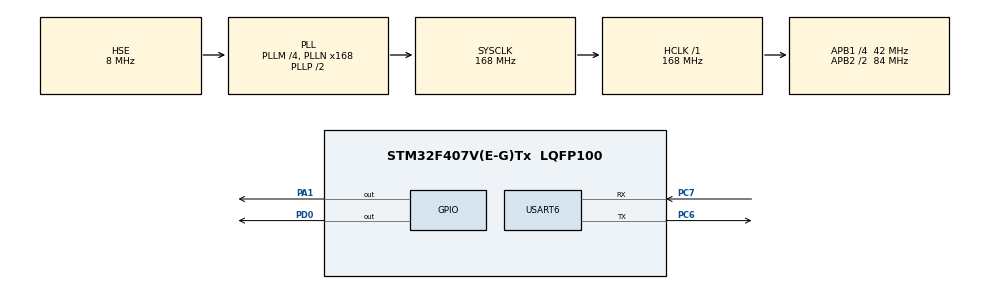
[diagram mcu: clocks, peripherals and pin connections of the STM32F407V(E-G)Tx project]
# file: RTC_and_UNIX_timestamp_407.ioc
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Mcu.Family=STM32F4
Mcu.Name=STM32F407V(E-G)Tx
Mcu.Package=LQFP100
NVIC.PriorityGroup=NVIC_PRIORITYGROUP_4
NVIC.RTC_Alarm_IRQn=true\:0\:0\:false\:false\:true\:true\:true\:true
NVIC.TIM8_TRG_COM_TIM14_IRQn=true\:15\:0\:false\:false\:true\:false\:true\:true
NVIC.TimeBase=TIM8_TRG_COM_TIM14_IRQn
NVIC.TimeBaseIP=TIM14
PA1.Signal=GPIO_Output
PA13.Mode=Serial_Wire
PA13.Signal=SYS_JTMS-SWDIO
PA14.Mode=Serial_Wire
PA14.Signal=SYS_JTCK-SWCLK
PC14-OSC32_IN.Mode=LSE-External-Oscillator
PC14-OSC32_IN.Signal=RCC_OSC32_IN
PC15-OSC32_OUT.Mode=LSE-External-Oscillator
PC15-OSC32_OUT.Signal=RCC_OSC32_OUT
PC6.Mode=Asynchronous
PC6.Signal=USART6_TX
PC7.Mode=Asynchronous
PC7.Signal=USART6_RX
PD0.Signal=GPIO_Output
PH0-OSC_IN.Mode=HSE-External-Oscillator
PH0-OSC_IN.Signal=RCC_OSC_IN
PH1-OSC_OUT.Mode=HSE-External-Oscillator
PH1-OSC_OUT.Signal=RCC_OSC_OUT
ProjectManager.HeapSize=0x200
ProjectManager.StackSize=0x400
ProjectManager.TargetToolchain=STM32CubeIDE
RCC.48MHZClocksFreq_Value=84000000
RCC.AHBFreq_Value=168000000
RCC.APB1CLKDivider=RCC_HCLK_DIV4
RCC.APB1Freq_Value=42000000
RCC.APB1TimFreq_Value=84000000
RCC.APB2CLKDivider=RCC_HCLK_DIV2
RCC.APB2Freq_Value=84000000
RCC.APB2TimFreq_Value=168000000
RCC.CortexFreq_Value=168000000
RCC.HCLKFreq_Value=168000000
RCC.HSE_VALUE=8000000
RCC.HSI_VALUE=16000000
RCC.PLLM=4
RCC.PLLN=168
RCC.PLLSourceVirtual=RCC_PLLSOURCE_HSE
RCC.SYSCLKFreq_VALUE=168000000
RCC.SYSCLKSource=RCC_SYSCLKSOURCE_PLLCLK
RCC.VCOOutputFreq_Value=336000000
RTC.Alarm=RTC_ALARM_A
RTC.AlarmMaskSeconds=RTC_ALARMMASK_SECONDS
RTC.Date=6
RTC.Format=RTC_FORMAT_BIN
RTC.Hours=18
RTC.Hours_A=18
RTC.Minutes=15
RTC.Minutes_A=15
RTC.Month=RTC_MONTH_AUGUST
RTC.Seconds_A=5
RTC.WeekDay=RTC_WEEKDAY_SATURDAY
RTC.Year=22
USART6.VirtualMode=VM_ASYNC
VP_RTC_VS_RTC_Activate.Mode=RTC_Enabled
VP_RTC_VS_RTC_Alarm_A_Intern.Mode=Alarm A
VP_RTC_VS_RTC_Calendar.Mode=RTC_Calendar
VP_SYS_VS_tim14.Mode=TIM14
board=custom

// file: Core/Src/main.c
/* USER CODE BEGIN Header */
/**
  ******************************************************************************
  * @file           : main.c
  * @brief          : Main program body
  ******************************************************************************
  * @attention
  *
  * Copyright (c) 2022 STMicroelectronics.
  * All rights reserved.
  *
  * This software is licensed under terms that can be found in the LICENSE file
  * in the root directory of this software component.
  * If no LICENSE file comes with this software, it is provided AS-IS.
  *
  ******************************************************************************
  */
/* USER CODE END Header */
#include "main.h"

/* USER CODE BEGIN Includes */
#include "stdio.h"
#include "string.h"
#include <time.h>
#include "stdbool.h" // Для flag
bool flag;

/* Global vars for timestamp */
RTC_TimeTypeDef currentTime;
RTC_DateTypeDef currentDate;
time_t timestamp;
struct tm currTime;

RTC_TimeTypeDef Time1;
RTC_DateTypeDef Date1;
time_t timestamp1;
struct tm stTime1;

RTC_TimeTypeDef Time2;
RTC_DateTypeDef Date2;
time_t timestamp2;
struct tm stTime2;
/* USER CODE END Includes */

RTC_HandleTypeDef hrtc;

UART_HandleTypeDef huart6;

/* USER CODE BEGIN PV */
RTC_TimeTypeDef sTime = {0};
RTC_DateTypeDef DateToUpdate = {0};
RTC_AlarmTypeDef sAlarm = {0}; // структура будильника

char trans_str[64] = {0,};
/* USER CODE END PV */

void SystemClock_Config(void);
static void MX_GPIO_Init(void);
static void MX_RTC_Init(void);
static void MX_USART6_UART_Init(void);
/* USER CODE BEGIN PFP */
int _write(int file, char *ptr, int len) {
	int i;
	HAL_UART_Transmit(&huart6, (uint8_t*) ptr, len, 50);
	for (i = 0; i < len; i++) {
		ITM_SendChar(*ptr++);
	}
	return len;
}
/* USER CODE END PFP */

int main(void)
{

  /* MCU Configuration--------------------------------------------------------*/

  /* Reset of all peripherals, Initializes the Flash interface and the Systick. */
  HAL_Init();

  /* Configure the system clock */
  SystemClock_Config();

  /* Initialize all configured peripherals */
  MX_GPIO_Init();
  MX_RTC_Init();
  MX_USART6_UART_Init();
  /* USER CODE BEGIN 2 */
//if(HAL_RTCEx_BKUPWrite(&hrtc, RTC_BKP_DR1) != 0x32F2) {
//	HAL_RTC_SetTime();
//}
  /* USER CODE END 2 */

  /* Infinite loop */
  /* USER CODE BEGIN WHILE */
  flag = 0;

  while (1)
  {
    /* USER CODE END WHILE */

    /* USER CODE BEGIN 3 */
      HAL_RTC_GetTime(&hrtc, &sTime, RTC_FORMAT_BIN); // RTC_FORMAT_BIN , RTC_FORMAT_BCD
      snprintf(trans_str, 63, "Curent time is %d:%d:%d\n", sTime.Hours, sTime.Minutes, sTime.Seconds);
      //snprintf(trans_str, 63, "Time %d:%d:%d:%lu\n", sTime.Hours, sTime.Minutes, sTime.Seconds, sTime.SubSeconds);
      HAL_UART_Transmit(&huart6, (uint8_t*)trans_str, strlen(trans_str), 1000);

      HAL_RTC_GetDate(&hrtc, &DateToUpdate, RTC_FORMAT_BIN);
      snprintf(trans_str, 63, "Date %d-%d-20%d\n", DateToUpdate.Date, DateToUpdate.Month, DateToUpdate.Year);
      HAL_UART_Transmit(&huart6, (uint8_t*)trans_str, strlen(trans_str), 1000);

      HAL_RTC_GetAlarm(&hrtc, &sAlarm, RTC_ALARM_A, RTC_FORMAT_BIN);
      snprintf(trans_str, 63, "Settings of alarm %d:%d:%d\n", sAlarm.AlarmTime.Hours, sAlarm.AlarmTime.Minutes, sAlarm.AlarmTime.Seconds);
      HAL_UART_Transmit(&huart6, (uint8_t*)trans_str, strlen(trans_str), 1000);

	  printf ("\n");

/*---------------------------------- Get timestamp from RTC ----------------------------------------*/
	  HAL_RTC_GetTime(&hrtc, &currentTime, RTC_FORMAT_BIN);
	  HAL_RTC_GetDate(&hrtc, &currentDate, RTC_FORMAT_BIN);

	  currTime.tm_year = currentDate.Year + 100;  // In fact: 2000 + 18 - 1900
	  currTime.tm_mday = currentDate.Date;
	  currTime.tm_mon  = currentDate.Month - 1;

	  currTime.tm_hour = currentTime.Hours;
	  currTime.tm_min  = currentTime.Minutes;
	  currTime.tm_sec  = currentTime.Seconds;

	  timestamp = mktime(&currTime);
	  //printf ( "Current SECONDS: %f\n", timestamp );
	  printf ( "Current date and time are: %s\n", ctime (&timestamp) ); // Convert time_t value to string

/*---------------------------------- Get timestamp for Time1 ----------------------------------------*/
		HAL_RTC_GetTime(&hrtc, &Time1, RTC_FORMAT_BIN);
		HAL_RTC_GetDate(&hrtc, &Date1, RTC_FORMAT_BIN);

		stTime1.tm_year = Date1.Year + 100;  // In fact: 2000 + 18 - 1900
		stTime1.tm_mday = Date1.Date;
		stTime1.tm_mon = Date1.Month - 1;

		stTime1.tm_hour = Time1.Hours;
		stTime1.tm_min = Time1.Minutes;
		stTime1.tm_sec = Time1.Seconds;

		timestamp1 = mktime(&stTime1);
		printf ( "Time1: %s", ctime (&timestamp1) ); // Convert Time1 value to string

/*---------------------------------- Get timestamp for Time2 ----------------------------------------*/
		HAL_RTC_GetTime(&hrtc, &Time2, RTC_FORMAT_BIN);
		HAL_RTC_GetDate(&hrtc, &Date2, RTC_FORMAT_BIN);

		stTime2.tm_year = Date2.Year + 100;  // In fact: 2000 + 18 - 1900
		stTime2.tm_mday = Date2.Date;
		stTime2.tm_mon = Date1.Month - 1;

		stTime2.tm_hour = 19;
		stTime2.tm_min = Time2.Minutes;
		stTime2.tm_sec = Time2.Seconds;

		timestamp2 = mktime(&stTime2);
		printf ( "Time2: %s\n", ctime (&timestamp2) ); // Convert Time2 value to string

		double interval = difftime(timestamp1, timestamp2);
		printf("difference  = %fs\n", interval);

//      if (flag == 1){
//    	  flag = 0;
//      }

	      HAL_Delay(1000);

  }
  /* USER CODE END 3 */
}

void SystemClock_Config(void)
{
  RCC_OscInitTypeDef RCC_OscInitStruct = {0};
  RCC_ClkInitTypeDef RCC_ClkInitStruct = {0};

  /** Configure the main internal regulator output voltage
  */
  __HAL_RCC_PWR_CLK_ENABLE();
  __HAL_PWR_VOLTAGESCALING_CONFIG(PWR_REGULATOR_VOLTAGE_SCALE1);

  /** Initializes the RCC Oscillators according to the specified parameters
  * in the RCC_OscInitTypeDef structure.
  */
  RCC_OscInitStruct.OscillatorType = RCC_OSCILLATORTYPE_LSI|RCC_OSCILLATORTYPE_HSE;
  RCC_OscInitStruct.HSEState = RCC_HSE_ON;
  RCC_OscInitStruct.LSIState = RCC_LSI_ON;
  RCC_OscInitStruct.PLL.PLLState = RCC_PLL_ON;
  RCC_OscInitStruct.PLL.PLLSource = RCC_PLLSOURCE_HSE;
  RCC_OscInitStruct.PLL.PLLM = 4;
  RCC_OscInitStruct.PLL.PLLN = 168;
  RCC_OscInitStruct.PLL.PLLP = RCC_PLLP_DIV2;
  RCC_OscInitStruct.PLL.PLLQ = 4;
  if (HAL_RCC_OscConfig(&RCC_OscInitStruct) != HAL_OK)
  {
    Error_Handler();
  }

  /** Initializes the CPU, AHB and APB buses clocks
  */
  RCC_ClkInitStruct.ClockType = RCC_CLOCKTYPE_HCLK|RCC_CLOCKTYPE_SYSCLK
                              |RCC_CLOCKTYPE_PCLK1|RCC_CLOCKTYPE_PCLK2;
  RCC_ClkInitStruct.SYSCLKSource = RCC_SYSCLKSOURCE_PLLCLK;
  RCC_ClkInitStruct.AHBCLKDivider = RCC_SYSCLK_DIV1;
  RCC_ClkInitStruct.APB1CLKDivider = RCC_HCLK_DIV4;
  RCC_ClkInitStruct.APB2CLKDivider = RCC_HCLK_DIV2;

  if (HAL_RCC_ClockConfig(&RCC_ClkInitStruct, FLASH_LATENCY_5) != HAL_OK)
  {
    Error_Handler();
  }
}

static void MX_RTC_Init(void)
{

  RTC_TimeTypeDef sTime = {0};
  RTC_DateTypeDef sDate = {0};
  RTC_AlarmTypeDef sAlarm = {0};

  /** Initialize RTC Only
  */
  hrtc.Instance = RTC;
  hrtc.Init.HourFormat = RTC_HOURFORMAT_24;
  hrtc.Init.AsynchPrediv = 127;
  hrtc.Init.SynchPrediv = 255;
  hrtc.Init.OutPut = RTC_OUTPUT_DISABLE;
  hrtc.Init.OutPutPolarity = RTC_OUTPUT_POLARITY_HIGH;
  hrtc.Init.OutPutType = RTC_OUTPUT_TYPE_OPENDRAIN;
  if (HAL_RTC_Init(&hrtc) != HAL_OK)
  {
    Error_Handler();
  }

  /** Initialize RTC and set the Time and Date
  */
  sTime.Hours = 18;
  sTime.Minutes = 15;
  sTime.Seconds = 0;
  sTime.DayLightSaving = RTC_DAYLIGHTSAVING_NONE;
  sTime.StoreOperation = RTC_STOREOPERATION_RESET;
  if (HAL_RTC_SetTime(&hrtc, &sTime, RTC_FORMAT_BIN) != HAL_OK)
  {
    Error_Handler();
  }
  sDate.WeekDay = RTC_WEEKDAY_SATURDAY;
  sDate.Month = RTC_MONTH_AUGUST;
  sDate.Date = 6;
  sDate.Year = 22;

  if (HAL_RTC_SetDate(&hrtc, &sDate, RTC_FORMAT_BIN) != HAL_OK)
  {
    Error_Handler();
  }

  /** Enable the Alarm A
  */
  sAlarm.AlarmTime.Hours = 18;
  sAlarm.AlarmTime.Minutes = 15;
  sAlarm.AlarmTime.Seconds = 5;
  sAlarm.AlarmTime.SubSeconds = 0;
  sAlarm.AlarmTime.DayLightSaving = RTC_DAYLIGHTSAVING_NONE;
  sAlarm.AlarmTime.StoreOperation = RTC_STOREOPERATION_RESET;
  sAlarm.AlarmMask = RTC_ALARMMASK_SECONDS;
  sAlarm.AlarmSubSecondMask = RTC_ALARMSUBSECONDMASK_ALL;
  sAlarm.AlarmDateWeekDaySel = RTC_ALARMDATEWEEKDAYSEL_DATE;
  sAlarm.AlarmDateWeekDay = 1;
  sAlarm.Alarm = RTC_ALARM_A;
  if (HAL_RTC_SetAlarm_IT(&hrtc, &sAlarm, RTC_FORMAT_BIN) != HAL_OK)
  {
    Error_Handler();
  }

}

static void MX_USART6_UART_Init(void)
{

  huart6.Instance = USART6;
  huart6.Init.BaudRate = 115200;
  huart6.Init.WordLength = UART_WORDLENGTH_8B;
  huart6.Init.StopBits = UART_STOPBITS_1;
  huart6.Init.Parity = UART_PARITY_NONE;
  huart6.Init.Mode = UART_MODE_TX_RX;
  huart6.Init.HwFlowCtl = UART_HWCONTROL_NONE;
  huart6.Init.OverSampling = UART_OVERSAMPLING_16;
  if (HAL_UART_Init(&huart6) != HAL_OK)
  {
    Error_Handler();
  }

}

static void MX_GPIO_Init(void)
{
  GPIO_InitTypeDef GPIO_InitStruct = {0};

  /* GPIO Ports Clock Enable */
  __HAL_RCC_GPIOC_CLK_ENABLE();
  __HAL_RCC_GPIOH_CLK_ENABLE();
  __HAL_RCC_GPIOA_CLK_ENABLE();
  __HAL_RCC_GPIOD_CLK_ENABLE();

  /*Configure GPIO pin Output Level */
  HAL_GPIO_WritePin(GPIOA, GPIO_PIN_1, GPIO_PIN_RESET);

  /*Configure GPIO pin Output Level */
  HAL_GPIO_WritePin(GPIOD, GPIO_PIN_0, GPIO_PIN_RESET);

  /*Configure GPIO pin : PA1 */
  GPIO_InitStruct.Pin = GPIO_PIN_1;
  GPIO_InitStruct.Mode = GPIO_MODE_OUTPUT_PP;
  GPIO_InitStruct.Pull = GPIO_NOPULL;
  GPIO_InitStruct.Speed = GPIO_SPEED_FREQ_LOW;
  HAL_GPIO_Init(GPIOA, &GPIO_InitStruct);

  /*Configure GPIO pin : PD0 */
  GPIO_InitStruct.Pin = GPIO_PIN_0;
  GPIO_InitStruct.Mode = GPIO_MODE_OUTPUT_PP;
  GPIO_InitStruct.Pull = GPIO_NOPULL;
  GPIO_InitStruct.Speed = GPIO_SPEED_FREQ_LOW;
  HAL_GPIO_Init(GPIOD, &GPIO_InitStruct);

}

/* USER CODE BEGIN 4 */
void HAL_RTC_AlarmAEventCallback(RTC_HandleTypeDef *hrtc)
{
        snprintf(trans_str, 63, "++++++++++ Alarm_A +++++++++\n");
        HAL_UART_Transmit(&huart6, (uint8_t*)trans_str, strlen(trans_str), 1000);
}
/* USER CODE END 4 */

void HAL_TIM_PeriodElapsedCallback(TIM_HandleTypeDef *htim)
{
  if (htim->Instance == TIM14) {
    HAL_IncTick();
  }
}

void Error_Handler(void)
{
  __disable_irq();
  while (1)
  {
  }
}
